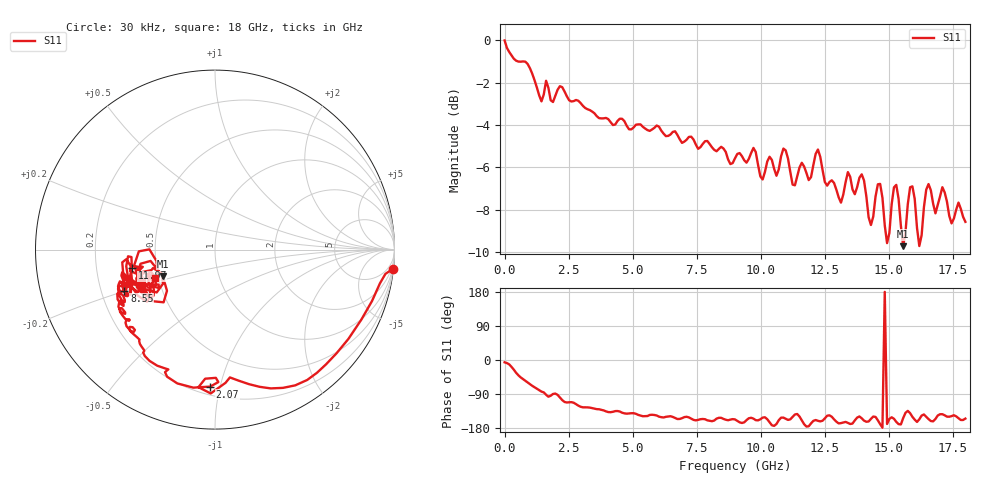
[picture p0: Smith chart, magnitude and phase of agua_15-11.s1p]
!Keysight Technologies N9917A: A.12.46
!Date: Thursday, 16 November 2023 19:03:30
!TimeZone: (UTC-03:00) Buenos Aires!Model: N9917A
!Serial: MY56072049
!GPS Latitude:
!GPS Longitude:
!GPS TimeStamp: 0001-01-01 00:00:00Z
!GPS Seconds Since Last Read: 0
!CHECKSUM:0122607078
!Correction: S11(Rdy)
!S1P File: Measurement: S11:
# Hz S DB R 50
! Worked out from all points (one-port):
!   201 points, 30 kHz to 18 GHz, reference 50 ohm
!   lowest |S11| = -9.7 dB at 15.57 GHz (marker M1), VSWR 1.97, Z = 26.4 - j8.71 ohm
!   |S11| at or under -10 dB: nowhere
!   S11 on the Smith chart (normalised r, x): 30 kHz: 0, -19; 2.07 GHz: 0.25, -0.93; 8.55 GHz: 0.30, -0.20; 11.97 GHz: 0.36, -0.10; 18 GHz: 0.48, -0.18
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30000  -0.01 -6.1
9.000285e8  -1.12 -59.4
1.710027e9  -2.25 -96.9
2.070027e9  -2.34 -92.0
2.250026e9  -2.22 -105.7
2.970025e9  -2.97 -123.4
4.500022e9  -3.71 -135.9
6.750019e9  -4.48 -155.7
8.550016e9  -5.12 -155.5
9.000015e9  -5.58 -156.8
1.017001e10  -6.22 -151.1
1.053001e10  -6.08 -173.8
1.080001e10  -5.48 -152.1
1.125001e10  -6.82 -150.2
1.197001e10  -6.47 -167.3
1.269001e10  -6.70 -146.1
1.350001e10  -6.45 -168.8
1.386001e10  -6.50 -149.0
1.422001e10  -8.36 -162.3
1.449001e10  -7.38 -150.2
1.485001e10  -8.74 179.8
1.512e10  -7.74 -151.1
1.53e10  -6.83 -163.2
1.557e10  -9.73 -153.2
1.575e10  -7.74 -134.3
1.611e10  -8.86 -163.4
1.71e10  -6.94 -143.0
1.8e10  -8.58 -154.6
